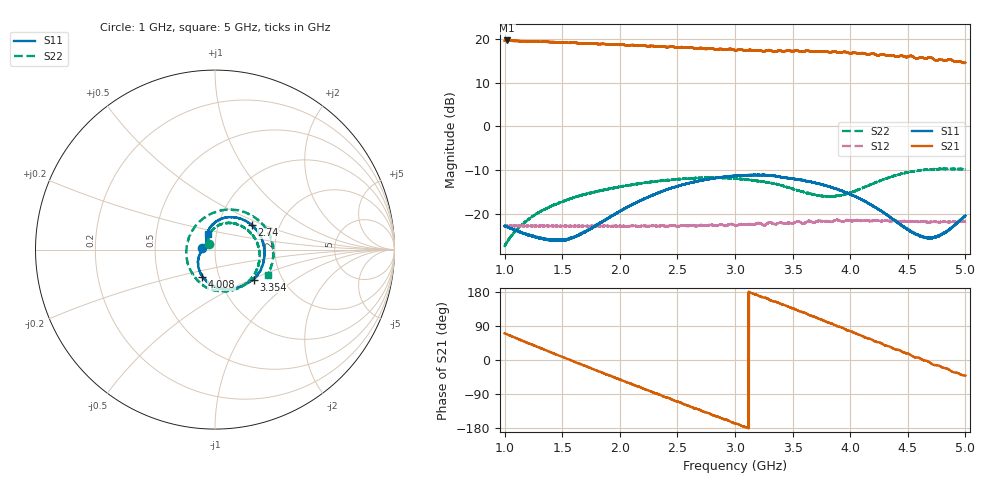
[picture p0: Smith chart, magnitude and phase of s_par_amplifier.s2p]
!Agilent Technologies,E8364A,US41440144,A.06.04.32
!Agilent E8364A: A.06.04.32
!Date: Thursday, March 11, 2021 17:12:48
!Correction: S11(Full 2 Port(1,2)) S21(Full 2 Port(1,2)) S12(Full 2 Port(1,2)) S22(Full 2 Port(1,2))
!S2P File: Measurements: S11, S21, S12, S22:
# Hz S  dB  R 50
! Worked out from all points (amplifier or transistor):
!   10001 points, 1 GHz to 5 GHz, reference 50 ohm
!   highest |S21| = 19.7 dB at 1.021 GHz (marker M1)
!   |S21| within 3 dB of that: start of sweep to 4.126 GHz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
!   unconditionally stable (mu >= 1): start of sweep to 2.45 GHz; 2.458 GHz to 2.534 GHz; 3.401 GHz to end of sweep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
!   at 1.666 GHz: K = 1.06, MAG = 19.4 dB, |S12| = -22.7 dB
!   at 3 GHz: K = 1.00, MSG = 20.0 dB, |S12| = -22.6 dB
!   at 5 GHz: K = 1.25, MAG = 15.2 dB, |S12| = -21.8 dB
!   S11 on the Smith chart (normalised r, x): 1 GHz: 0.86, +0.01; 2.74 GHz: 1.44, +0.42; 3.354 GHz: 1.44, -0.52; 4.008 GHz: 0.83, -0.26; 5 GHz: 0.91, +0.16
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1e9  -22.75 175.1  19.63 70.4  -22.75 -80.1  -27.31 138.5
1.0212e9  -22.91 172.0  19.67 67.6  -22.76 -81.9  -26.37 135.7
1.1896e9  -24.64 152.3  19.52 46.2  -22.77 -99.0  -21.62 114.1
1.36e9  -25.79 138.6  19.35 25.4  -22.75 -115.7  -18.79 94.9
1.52e9  -26.13 132.5  19.21 5.7  -22.75 -131.1  -17.02 79.0
1.6668e9  -24.58 132.2  19.03 -11.6  -22.73 -144.6  -15.72 65.0
1.8468e9  -21.78 123.2  18.88 -33.2  -22.75 -161.4  -14.63 49.3
2.0248e9  -19.01 108.9  18.68 -54.5  -22.80 -177.9  -13.65 34.8
2.3336e9  -15.15 78.8  18.28 -90.4  -22.74 153.7  -12.51 9.3
2.536e9  -13.38 56.4  18.18 -113.8  -22.66 135.7  -11.99 -8.2
2.7404e9  -12.20 33.6  17.74 -137.7  -22.68 116.5  -11.77 -26.9
3e9  -11.29 4.4  17.48 -167.2  -22.58 92.1  -11.96 -53.4
3.192e9  -11.11 -18.1  17.40 171.3  -22.15 76.1  -12.47 -76.2
3.354e9  -11.31 -37.8  17.14 153.5  -22.34 60.7  -13.14 -98.7
3.6668e9  -12.68 -72.7  17.15 115.9  -21.85 29.1  -15.48 -154.9
3.86e9  -14.19 -95.8  17.06 93.2  -21.60 12.4  -15.95 158.7
4.008e9  -15.58 -114.8  16.81 75.4  -21.63 -5.2  -15.10 121.2
4.3336e9  -20.53 -158.9  16.20 36.2  -21.65 -38.2  -11.74 55.2
4.5292e9  -23.98 174.6  16.17 12.2  -21.79 -57.5  -10.32 24.5
4.6896e9  -25.50 155.1  15.81 -6.2  -21.90 -72.6  -9.82 3.9
4.8828e9  -23.04 131.1  15.18 -30.7  -21.85 -91.1  -9.72 -16.1
5e9  -20.41 113.9  14.58 -40.8  -21.79 -103.7  -9.77 -25.7
